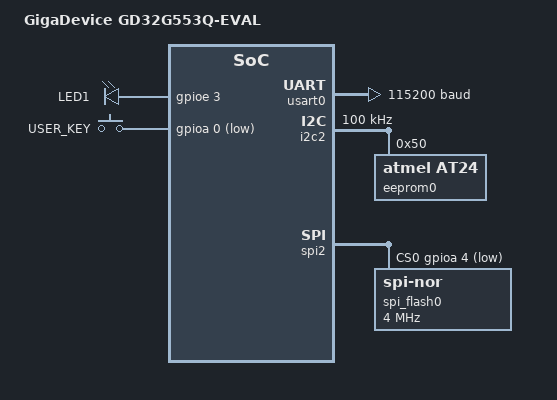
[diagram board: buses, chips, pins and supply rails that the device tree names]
/*
 * Copyright (c) 2026 GigaDevice Semiconductor Inc.
 *
 * SPDX-License-Identifier: Apache-2.0
 */

/dts-v1/;

#include <gd/gd32g5x3/gd32g553qe.dtsi>
#include "gd32g553q_eval-pinctrl.dtsi"
#include <zephyr/dt-bindings/dma/gd32_dma.h>

/ {
	model = "GigaDevice GD32G553Q-EVAL";
	compatible = "gd,gd32g553q-eval";

	chosen {
		zephyr,flash = &flash0;
		zephyr,sram = &sram0;
		zephyr,console = &usart0;
		zephyr,shell-uart = &usart0;
	};

	leds {
		compatible = "gpio-leds";
		led1: led1 {
			gpios = <&gpioe 3 GPIO_ACTIVE_HIGH>;
			label = "LED1";
		};
	};

	gpio_keys {
		compatible = "gpio-keys";
		user_key: user_key {
			label = "USER_KEY";
			gpios = <&gpioa 0 GPIO_ACTIVE_LOW>;
		};
	};

	aliases {
		led0 = &led1;
		sw0 = &user_key;
		eeprom-0 = &eeprom0;
		spi-flash0 = &spi_flash0;
	};
};

&gpioa {
	status = "okay";
};

&gpiob {
	status = "okay";
};

&gpioc {
	status = "okay";
};

&gpioe {
	status = "okay";
};

&gpiof {
	status = "okay";
};

&dma0 {
	status = "okay";
};

&dma1 {
	status = "okay";
};

&dmamux {
	status = "okay";
};

&usart0 {
	status = "okay";
	current-speed = <115200>;
	pinctrl-0 = <&usart0_default>;
	pinctrl-names = "default";
	dmas = <&dmamux 0 24 (GD32_DMA_PERIPH_RX | GD32_DMA_PRIORITY_HIGH)>,
	       <&dmamux 1 25 (GD32_DMA_PERIPH_TX | GD32_DMA_PRIORITY_HIGH)>;
	dma-names = "rx", "tx";
};

&i2c0 {
	status = "disabled";
	pinctrl-0 = <&i2c0_default>;
	pinctrl-names = "default";
	dmas = <&dmamux 2 16 (GD32_DMA_PERIPH_RX | GD32_DMA_PRIORITY_HIGH)>,
	       <&dmamux 3 17 (GD32_DMA_PERIPH_TX | GD32_DMA_PRIORITY_HIGH)>;
	dma-names = "rx", "tx";
	clock-frequency = <100000>;
};

&i2c1 {
	status = "disabled";
	pinctrl-0 = <&i2c1_default>;
	pinctrl-names = "default";
	dmas = <&dmamux 4 18 (GD32_DMA_PERIPH_RX | GD32_DMA_PRIORITY_HIGH)>,
	       <&dmamux 5 19 (GD32_DMA_PERIPH_TX | GD32_DMA_PRIORITY_HIGH)>;
	dma-names = "rx", "tx";
	clock-frequency = <100000>;
};

&i2c2 {
	status = "okay";
	pinctrl-0 = <&i2c2_default>;
	pinctrl-names = "default";
	dmas = <&dmamux 6 20 (GD32_DMA_PERIPH_RX | GD32_DMA_PRIORITY_HIGH)>,
	       <&dmamux 7 21 (GD32_DMA_PERIPH_TX | GD32_DMA_PRIORITY_HIGH)>;
	dma-names = "rx", "tx";
	clock-frequency = <100000>;
	eeprom0: eeprom@50 {
		compatible = "atmel,at24";
		reg = <0x50>;
		status = "okay";
		size = <256>;
		pagesize = <8>;
		address-width = <8>;
		timeout = <5>;
	};
};

&i2c3 {
	status = "disabled";
	pinctrl-0 = <&i2c3_default>;
	pinctrl-names = "default";
	dmas = <&dmamux 8 22 (GD32_DMA_PERIPH_RX | GD32_DMA_PRIORITY_HIGH)>,
	       <&dmamux 9 23 (GD32_DMA_PERIPH_TX | GD32_DMA_PRIORITY_HIGH)>;
	dma-names = "rx", "tx";
	clock-frequency = <100000>;
};

&spi0 {
	status = "disabled";
	pinctrl-0 = <&spi0_default>;
	pinctrl-names = "default";
};

&spi1 {
	status = "disabled";
	pinctrl-0 = <&spi1_default>;
	pinctrl-names = "default";
	cs-gpios = <&gpioa 8 GPIO_ACTIVE_LOW>;
};

&spi2 {
	status = "okay";
	pinctrl-0 = <&spi2_default>;
	pinctrl-names = "default";
	cs-gpios = <&gpioa 4 GPIO_ACTIVE_LOW>;
	dmas = <&dmamux 12 14 (GD32_DMA_PERIPH_RX | GD32_DMA_PRIORITY_MEDIUM)>,
	       <&dmamux 13 15 (GD32_DMA_PERIPH_TX | GD32_DMA_PRIORITY_MEDIUM)>;
	dma-names = "rx", "tx";

	spi_flash0: spiflash@0 {
		compatible = "jedec,spi-nor";
		size = <0x1000000>;
		reg = <0>;
		spi-max-frequency = <4000000>;
		status = "okay";
		jedec-id = [c8 40 15];
	};
};
